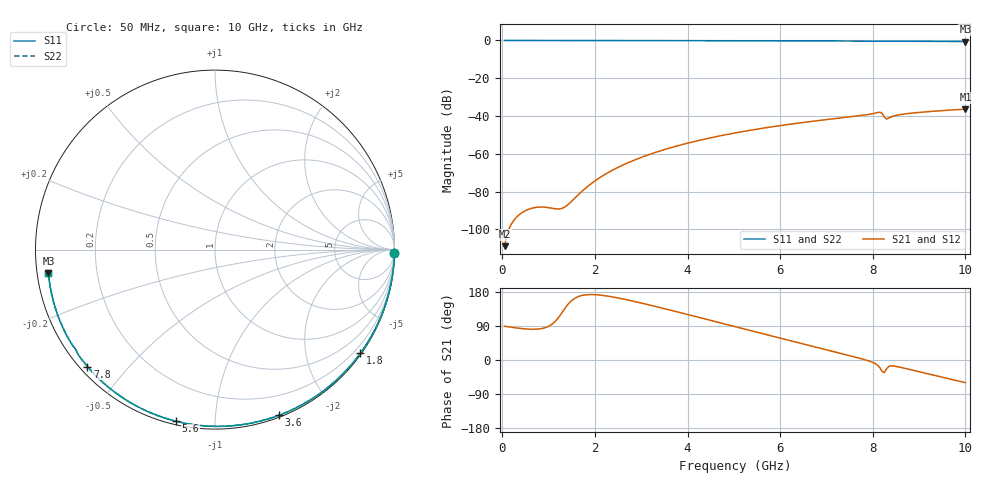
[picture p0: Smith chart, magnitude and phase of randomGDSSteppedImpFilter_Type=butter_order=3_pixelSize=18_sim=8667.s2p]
! freq	dB(S11)	phase(S11)	dB(S12)	phase(S12)
!  dB(S21)	phase(S21)	dB(S22)	phase(S22)
!S-par simulation data
#  GHz  S  DB  R 50
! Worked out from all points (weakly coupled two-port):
!   200 points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, 50 MHz to 10 GHz, reference 50 ohm
!   highest |S21| = -36.35 dB at 10 GHz (marker M1); lowest = -108.9 dB at 50 MHz (marker M2)
!   lowest |S11| = -0.6 dB at 10 GHz (marker M3), VSWR 30.82, Z = 1.63 - j3.48 ohm
!   |S11| at or under -10 dB: nowhere
!   |S22| runs from -0.6 to 0.0 dB; largest |S21 - S12| = 0
!   S11 on the Smith chart (normalised r, x): 50 MHz: open; 1.8 GHz: 0.03, -3.13; 3.6 GHz: 0.02, -1.46; 5.6 GHz: 0.02, -0.80; 7.8 GHz: 0.02, -0.39; 10 GHz: 0.03, -0.07
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0.05  -0.00 -1.0  -108.88 89.1  -108.88 89.1  -0.00 -1.0
0.85  -0.02 -17.0  -88.16 82.9  -88.16 82.9  -0.02 -17.0
1.7  -0.04 -33.5  -80.29 169.7  -80.29 169.7  -0.04 -33.5
1.75  -0.04 -34.5  -79.18 171.0  -79.18 171.0  -0.04 -34.5
1.8  -0.04 -35.5  -78.13 171.9  -78.13 171.9  -0.04 -35.4
2.1  -0.05 -41.2  -72.68 171.4  -72.68 171.4  -0.05 -41.2
2.45  -0.06 -47.8  -67.77 164.9  -67.77 164.9  -0.06 -47.8
2.9  -0.07 -56.1  -62.84 153.2  -62.84 153.2  -0.07 -56.1
3.4  -0.09 -65.2  -58.52 138.6  -58.52 138.6  -0.09 -65.2
3.6  -0.09 -68.8  -57.03 132.5  -57.03 132.5  -0.09 -68.8
4.3  -0.11 -81.1  -52.60 110.8  -52.60 110.8  -0.11 -81.0
5.05  -0.14 -93.7  -48.84 87.3  -48.84 87.3  -0.14 -93.7
5.6  -0.17 -102.8  -46.55 70.1  -46.55 70.1  -0.17 -102.7
6.7  -0.23 -120.3  -42.78 36.2  -42.78 36.2  -0.23 -120.3
7.8  -0.32 -137.5  -39.55 1.8  -39.55 1.8  -0.32 -137.4
8.15  -0.36 -143.0  -37.96 -19.8  -37.96 -19.8  -0.36 -143.0
8.2  -0.38 -143.8  -38.46 -29.9  -38.46 -29.9  -0.38 -143.7
8.25  -0.40 -144.4  -40.65 -33.4  -40.65 -33.4  -0.40 -144.4
8.3  -0.40 -145.1  -41.59 -22.6  -41.59 -22.6  -0.40 -145.0
8.35  -0.39 -145.9  -41.03 -16.6  -41.03 -16.6  -0.39 -145.8
8.75  -0.42 -152.1  -38.70 -23.7  -38.70 -23.7  -0.42 -152.0
10  -0.56 -172.0  -36.35 -59.7  -36.35 -59.7  -0.56 -171.9
